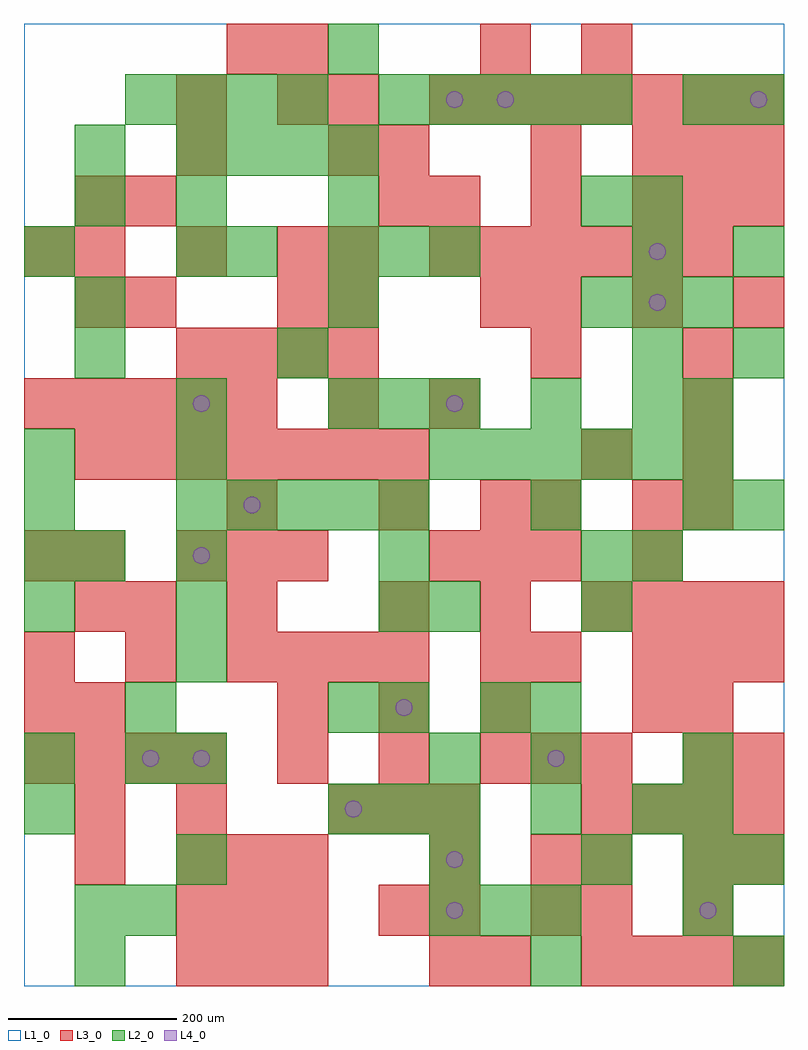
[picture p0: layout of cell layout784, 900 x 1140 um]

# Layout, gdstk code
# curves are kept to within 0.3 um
import gdstk
lib = gdstk.Library(unit=1e-6, precision=1e-09)
def R(c, l, rs):  # rectangles x0, y0, x1, y1
    for r in rs: c.add(gdstk.rectangle(r[:2], r[2:], *l))
def A(c, l, x, y, w, h, nx, ny, dx, dy):  # array of equal rectangles
    R(c, l, [(x+i*dx, y+j*dy, x+i*dx+w, y+j*dy+h) for i in range(nx) for j in range(ny)])
def P(c, l, *ps):  # polygons
    for p in ps: c.add(gdstk.Polygon(p, *l))
L1_0 = (1, 0)
L2_0 = (2, 0)
L3_0 = (3, 0)
L4_0 = (4, 0)

layout784 = lib.new_cell('layout784')
R(layout784, L1_0, [(0,0,900,1140)])
A(layout784, L2_0, 480, 60, 60, 60, 3, 1, 60, 0)
A(layout784, L2_0, 780, 60, 60, 60, 1, 4, 0, 60)
A(layout784, L2_0, 180, 120, 60, 60, 1, 3, 0, 120)
A(layout784, L2_0, 360, 180, 60, 60, 3, 2, 60, 480)
A(layout784, L2_0, 600, 180, 60, 60, 1, 3, 0, 60)
A(layout784, L2_0, 0, 420, 60, 60, 1, 4, 0, 60)
A(layout784, L2_0, 180, 480, 60, 60, 3, 1, 240, 0)
A(layout784, L2_0, 180, 540, 60, 60, 5, 1, 60, 0)
A(layout784, L2_0, 780, 540, 60, 60, 1, 3, 0, 120)
A(layout784, L2_0, 480, 600, 60, 60, 6, 1, 60, 0)
A(layout784, L2_0, 720, 660, 60, 60, 1, 5, 0, 60)
A(layout784, L2_0, 60, 780, 60, 60, 3, 1, 300, 0)
A(layout784, L2_0, 360, 840, 60, 60, 3, 1, 60, 0)
A(layout784, L2_0, 180, 960, 60, 60, 4, 1, 60, 0)
A(layout784, L2_0, 120, 1020, 60, 60, 4, 1, 60, 0)
A(layout784, L2_0, 420, 1020, 60, 60, 5, 1, 60, 0)
R(layout784, L2_0, [(60,0,120,60), (600,0,660,60), (840,0,900,60), (60,60,120,120), (120,60,180,120), (480,120,540,180), (660,120,720,180), (840,120,900,180), (0,180,60,240), (720,180,780,240), (0,240,60,300), (120,240,180,300), (480,240,540,300), (120,300,180,360), (360,300,420,360), (420,300,480,360), (540,300,600,360), (180,420,240,480), (420,420,480,480), (480,420,540,480), (660,420,720,480), (60,480,120,540), (720,480,780,540), (600,540,660,600), (840,540,900,600), (180,600,240,660), (180,660,240,720), (600,660,660,720), (60,720,120,780), (300,720,360,780), (840,720,900,780), (0,840,60,900), (180,840,240,900), (240,840,300,900), (840,840,900,900), (60,900,120,960), (180,900,240,960), (360,900,420,960), (660,900,720,960), (60,960,120,1020), (780,1020,840,1080), (840,1020,900,1080), (360,1080,420,1140)])
A(layout784, L3_0, 180, 0, 60, 60, 3, 3, 60, 60)
A(layout784, L3_0, 480, 0, 60, 60, 1, 3, 0, 60)
A(layout784, L3_0, 660, 0, 60, 60, 4, 2, 60, 180)
A(layout784, L3_0, 600, 120, 60, 60, 1, 3, 0, 120)
A(layout784, L3_0, 60, 180, 60, 60, 1, 3, 0, 120)
A(layout784, L3_0, 360, 180, 60, 60, 3, 1, 60, 0)
A(layout784, L3_0, 0, 240, 60, 60, 4, 1, 60, 0)
A(layout784, L3_0, 300, 240, 60, 60, 3, 2, 120, 60)
A(layout784, L3_0, 0, 360, 60, 60, 3, 1, 120, 0)
A(layout784, L3_0, 300, 360, 60, 60, 3, 1, 60, 0)
A(layout784, L3_0, 720, 360, 60, 60, 3, 2, 60, 60)
A(layout784, L3_0, 420, 420, 60, 60, 3, 1, 120, 0)
A(layout784, L3_0, 180, 480, 60, 60, 3, 1, 60, 0)
A(layout784, L3_0, 480, 480, 60, 60, 3, 1, 60, 0)
A(layout784, L3_0, 780, 540, 60, 60, 1, 4, 0, 60)
A(layout784, L3_0, 60, 600, 60, 60, 7, 1, 60, 0)
A(layout784, L3_0, 0, 660, 60, 60, 5, 1, 60, 0)
A(layout784, L3_0, 180, 720, 60, 60, 4, 1, 60, 0)
A(layout784, L3_0, 600, 780, 60, 60, 3, 1, 120, 0)
A(layout784, L3_0, 60, 840, 60, 60, 3, 1, 120, 0)
A(layout784, L3_0, 480, 840, 60, 60, 6, 1, 60, 0)
A(layout784, L3_0, 480, 900, 60, 60, 3, 1, 120, 0)
A(layout784, L3_0, 720, 960, 60, 60, 3, 1, 60, 0)
A(layout784, L3_0, 480, 1020, 60, 60, 7, 1, 60, 0)
R(layout784, L3_0, [(540,0,600,60), (420,60,480,120), (600,60,660,120), (660,60,720,120), (780,60,840,120), (60,120,120,180), (660,120,720,180), (780,120,840,180), (840,120,900,180), (180,180,240,240), (660,240,720,300), (780,240,840,300), (840,240,900,300), (0,300,60,360), (720,300,780,360), (780,300,840,360), (540,360,600,420), (120,420,180,480), (240,420,300,480), (0,480,60,540), (60,480,120,540), (720,480,780,540), (240,540,300,600), (420,540,480,600), (540,540,600,600), (600,540,660,600), (720,540,780,600), (660,600,720,660), (360,660,420,720), (480,660,540,720), (600,720,660,780), (60,780,120,840), (120,780,180,840), (300,780,360,840), (360,780,420,840), (540,780,600,840), (0,840,60,900), (360,840,420,900), (60,900,120,960), (120,900,180,960), (420,900,480,960), (780,900,840,960), (840,900,900,960), (180,960,240,1020), (360,960,420,1020), (420,960,480,1020), (600,960,660,1020), (180,1020,240,1080), (300,1020,360,1080), (360,1020,420,1080), (240,1080,300,1140), (300,1080,360,1140), (540,1080,600,1140), (660,1080,720,1140)])
P(layout784, L4_0, [(160,270),(159.239,273.827),(157.071,277.071),(153.827,279.239),(150,280),(146.173,279.239),(142.929,277.071),(140.761,273.827),(140,270),(140.761,266.173),(142.929,262.929),(146.173,260.761),(150,260),(153.827,260.761),(157.071,262.929),(159.239,266.173)],
  [(220,270),(219.239,273.827),(217.071,277.071),(213.827,279.239),(210,280),(206.173,279.239),(202.929,277.071),(200.761,273.827),(200,270),(200.761,266.173),(202.929,262.929),(206.173,260.761),(210,260),(213.827,260.761),(217.071,262.929),(219.239,266.173)],
  [(220,510),(219.239,513.827),(217.071,517.071),(213.827,519.239),(210,520),(206.173,519.239),(202.929,517.071),(200.761,513.827),(200,510),(200.761,506.173),(202.929,502.929),(206.173,500.761),(210,500),(213.827,500.761),(217.071,502.929),(219.239,506.173)],
  [(220,690),(219.239,693.827),(217.071,697.071),(213.827,699.239),(210,700),(206.173,699.239),(202.929,697.071),(200.761,693.827),(200,690),(200.761,686.173),(202.929,682.929),(206.173,680.761),(210,680),(213.827,680.761),(217.071,682.929),(219.239,686.173)],
  [(280,570),(279.239,573.827),(277.071,577.071),(273.827,579.239),(270,580),(266.173,579.239),(262.929,577.071),(260.761,573.827),(260,570),(260.761,566.173),(262.929,562.929),(266.173,560.761),(270,560),(273.827,560.761),(277.071,562.929),(279.239,566.173)],
  [(400,210),(399.239,213.827),(397.071,217.071),(393.827,219.239),(390,220),(386.173,219.239),(382.929,217.071),(380.761,213.827),(380,210),(380.761,206.173),(382.929,202.929),(386.173,200.761),(390,200),(393.827,200.761),(397.071,202.929),(399.239,206.173)],
  [(460,330),(459.239,333.827),(457.071,337.071),(453.827,339.239),(450,340),(446.173,339.239),(442.929,337.071),(440.761,333.827),(440,330),(440.761,326.173),(442.929,322.929),(446.173,320.761),(450,320),(453.827,320.761),(457.071,322.929),(459.239,326.173)],
  [(520,90),(519.239,93.827),(517.071,97.071),(513.827,99.239),(510,100),(506.173,99.239),(502.929,97.071),(500.761,93.827),(500,90),(500.761,86.173),(502.929,82.929),(506.173,80.761),(510,80),(513.827,80.761),(517.071,82.929),(519.239,86.173)],
  [(520,150),(519.239,153.827),(517.071,157.071),(513.827,159.239),(510,160),(506.173,159.239),(502.929,157.071),(500.761,153.827),(500,150),(500.761,146.173),(502.929,142.929),(506.173,140.761),(510,140),(513.827,140.761),(517.071,142.929),(519.239,146.173)],
  [(520,690),(519.239,693.827),(517.071,697.071),(513.827,699.239),(510,700),(506.173,699.239),(502.929,697.071),(500.761,693.827),(500,690),(500.761,686.173),(502.929,682.929),(506.173,680.761),(510,680),(513.827,680.761),(517.071,682.929),(519.239,686.173)],
  [(520,1050),(519.239,1053.827),(517.071,1057.071),(513.827,1059.239),(510,1060),(506.173,1059.239),(502.929,1057.071),(500.761,1053.827),(500,1050),(500.761,1046.173),(502.929,1042.929),(506.173,1040.761),(510,1040),(513.827,1040.761),(517.071,1042.929),(519.239,1046.173)],
  [(580,1050),(579.239,1053.827),(577.071,1057.071),(573.827,1059.239),(570,1060),(566.173,1059.239),(562.929,1057.071),(560.761,1053.827),(560,1050),(560.761,1046.173),(562.929,1042.929),(566.173,1040.761),(570,1040),(573.827,1040.761),(577.071,1042.929),(579.239,1046.173)],
  [(640,270),(639.239,273.827),(637.071,277.071),(633.827,279.239),(630,280),(626.173,279.239),(622.929,277.071),(620.761,273.827),(620,270),(620.761,266.173),(622.929,262.929),(626.173,260.761),(630,260),(633.827,260.761),(637.071,262.929),(639.239,266.173)],
  [(760,810),(759.239,813.827),(757.071,817.071),(753.827,819.239),(750,820),(746.173,819.239),(742.929,817.071),(740.761,813.827),(740,810),(740.761,806.173),(742.929,802.929),(746.173,800.761),(750,800),(753.827,800.761),(757.071,802.929),(759.239,806.173)],
  [(760,870),(759.239,873.827),(757.071,877.071),(753.827,879.239),(750,880),(746.173,879.239),(742.929,877.071),(740.761,873.827),(740,870),(740.761,866.173),(742.929,862.929),(746.173,860.761),(750,860),(753.827,860.761),(757.071,862.929),(759.239,866.173)],
  [(820,90),(819.239,93.827),(817.071,97.071),(813.827,99.239),(810,100),(806.173,99.239),(802.929,97.071),(800.761,93.827),(800,90),(800.761,86.173),(802.929,82.929),(806.173,80.761),(810,80),(813.827,80.761),(817.071,82.929),(819.239,86.173)],
  [(880,1050),(879.239,1053.827),(877.071,1057.071),(873.827,1059.239),(870,1060),(866.173,1059.239),(862.929,1057.071),(860.761,1053.827),(860,1050),(860.761,1046.173),(862.929,1042.929),(866.173,1040.761),(870,1040),(873.827,1040.761),(877.071,1042.929),(879.239,1046.173)])

lib.write_gds('layout784.gds')
